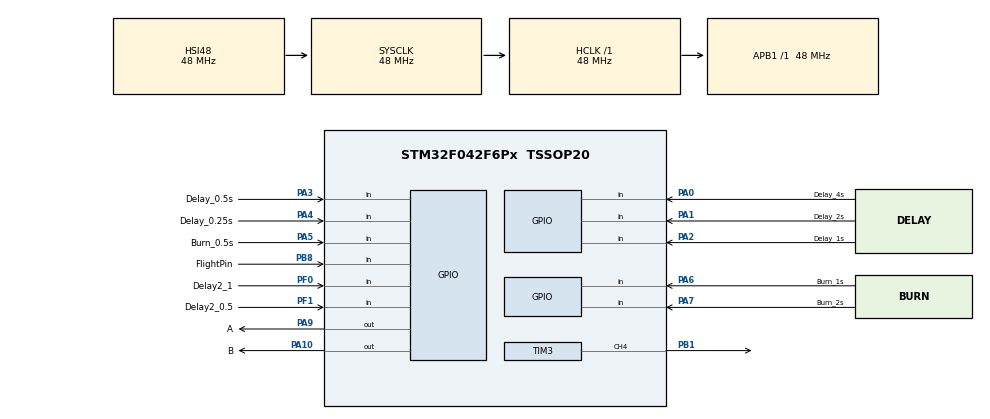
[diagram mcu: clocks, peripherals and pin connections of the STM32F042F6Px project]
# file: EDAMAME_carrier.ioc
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Mcu.Family=STM32F0
Mcu.Name=STM32F042F6Px
Mcu.Package=TSSOP20
PA0.GPIO_Label=Delay_4s
PA0.GPIO_PuPd=GPIO_PULLUP
PA0.Signal=GPIO_Input
PA1.GPIO_Label=Delay_2s
PA1.GPIO_PuPd=GPIO_PULLUP
PA1.Signal=GPIO_Input
PA10.GPIO_Label=B
PA10.Signal=GPIO_Output
PA13.Mode=Serial_Wire
PA13.Signal=SYS_SWDIO
PA14.Mode=Serial_Wire
PA14.Signal=SYS_SWCLK
PA2.GPIO_Label=Delay_1s
PA2.GPIO_PuPd=GPIO_PULLUP
PA2.Signal=GPIO_Input
PA3.GPIO_Label=Delay_0.5s
PA3.GPIO_PuPd=GPIO_PULLUP
PA3.Signal=GPIO_Input
PA4.GPIO_Label=Delay_0.25s
PA4.GPIO_PuPd=GPIO_PULLUP
PA4.Signal=GPIO_Input
PA5.GPIO_Label=Burn_0.5s
PA5.GPIO_PuPd=GPIO_PULLUP
PA5.Signal=GPIO_Input
PA6.GPIO_Label=Burn_1s
PA6.GPIO_PuPd=GPIO_PULLUP
PA6.Signal=GPIO_Input
PA7.GPIO_Label=Burn_2s
PA7.GPIO_PuPd=GPIO_PULLUP
PA7.Signal=GPIO_Input
PA9.GPIO_Label=A
PA9.Signal=GPIO_Output
PB1.Signal=S_TIM3_CH4
PB8.GPIO_Label=FlightPin
PB8.GPIO_PuPd=GPIO_PULLUP
PB8.Signal=GPIO_Input
PF0-OSC_IN.GPIO_Label=Delay2_1
PF0-OSC_IN.GPIO_PuPd=GPIO_PULLUP
PF0-OSC_IN.Signal=GPIO_Input
PF1-OSC_OUT.GPIO_Label=Delay2_0.5
PF1-OSC_OUT.GPIO_PuPd=GPIO_PULLUP
PF1-OSC_OUT.Signal=GPIO_Input
ProjectManager.HeapSize=0x200
ProjectManager.StackSize=0x400
ProjectManager.TargetToolchain=TrueSTUDIO
RCC.AHBFreq_Value=48000000
RCC.APB1Freq_Value=48000000
RCC.APB1TimFreq_Value=48000000
RCC.HCLKFreq_Value=48000000
RCC.PLLSourceVirtual=RCC_PLLSOURCE_HSI48
RCC.SYSCLKFreq_VALUE=48000000
RCC.SYSCLKSource=RCC_SYSCLKSOURCE_HSI48
SH.S_TIM3_CH4.0=TIM3_CH4,PWM Generation4 CH4
TIM3.Channel-PWM\ Generation4\ CH4=TIM_CHANNEL_4
TIM3.ClockDivision=TIM_CLOCKDIVISION_DIV1
TIM3.CounterMode=TIM_COUNTERMODE_CENTERALIGNED1
TIM3.Period=500
TIM3.Prescaler=48
TIM3.Pulse-PWM\ Generation4\ CH4=250
board=custom

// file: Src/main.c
/* USER CODE BEGIN Header */
/**
  ******************************************************************************
  * @file           : main.c
  * @brief          : Main program body
  ******************************************************************************
  ** This notice applies to any and all portions of this file
  * that are not between comment pairs USER CODE BEGIN and
  * USER CODE END. Other portions of this file, whether
  * inserted by the user or by software development tools
  * are owned by their respective copyright owners.
  *
  * COPYRIGHT(c) 2019 STMicroelectronics
  *
  * Redistribution and use in source and binary forms, with or without modification,
  * are permitted provided that the following conditions are met:
  *   1. Redistributions of source code must retain the above copyright notice,
  *      this list of conditions and the following disclaimer.
  *   2. Redistributions in binary form must reproduce the above copyright notice,
  *      this list of conditions and the following disclaimer in the documentation
  *      and/or other materials provided with the distribution.
  *   3. Neither the name of STMicroelectronics nor the names of its contributors
  *      may be used to endorse or promote products derived from this software
  *      without specific prior written permission.
  *
  * THIS SOFTWARE IS PROVIDED BY THE COPYRIGHT HOLDERS AND CONTRIBUTORS "AS IS"
  * AND ANY EXPRESS OR IMPLIED WARRANTIES, INCLUDING, BUT NOT LIMITED TO, THE
  * IMPLIED WARRANTIES OF MERCHANTABILITY AND FITNESS FOR A PARTICULAR PURPOSE ARE
  * DISCLAIMED. IN NO EVENT SHALL THE COPYRIGHT HOLDER OR CONTRIBUTORS BE LIABLE
  * FOR ANY DIRECT, INDIRECT, INCIDENTAL, SPECIAL, EXEMPLARY, OR CONSEQUENTIAL
  * DAMAGES (INCLUDING, BUT NOT LIMITED TO, PROCUREMENT OF SUBSTITUTE GOODS OR
  * SERVICES; LOSS OF USE, DATA, OR PROFITS; OR BUSINESS INTERRUPTION) HOWEVER
  * CAUSED AND ON ANY THEORY OF LIABILITY, WHETHER IN CONTRACT, STRICT LIABILITY,
  * OR TORT (INCLUDING NEGLIGENCE OR OTHERWISE) ARISING IN ANY WAY OUT OF THE USE
  * OF THIS SOFTWARE, EVEN IF ADVISED OF THE POSSIBILITY OF SUCH DAMAGE.
  *
  ******************************************************************************
  */
/* USER CODE END Header */

#include "main.h"

TIM_HandleTypeDef htim3;

void SystemClock_Config(void);
static void MX_GPIO_Init(void);
static void MX_TIM3_Init(void);

int main(void)
{

  /* MCU Configuration--------------------------------------------------------*/

  /* Reset of all peripherals, Initializes the Flash interface and the Systick. */
  HAL_Init();

  /* Configure the system clock */
  SystemClock_Config();

  /* Initialize all configured peripherals */
  MX_GPIO_Init();
  MX_TIM3_Init();
  /* USER CODE BEGIN 2 */

	//遅延時間の設定
	int delay_time[3] = { 50,50,50 };
	//パラシュートが展開してから上段のニクロム線が作動するまで
	delay_time[0] += HAL_GPIO_ReadPin( Delay_0_25s_GPIO_Port, Delay_0_25s_Pin	) ? 0 : 250;
	delay_time[0] += HAL_GPIO_ReadPin( Delay_0_5s_GPIO_Port	, Delay_0_5s_Pin	) ? 0 : 500;
	delay_time[0] += HAL_GPIO_ReadPin( Delay_1s_GPIO_Port	, Delay_1s_Pin		) ? 0 : 1000;
	delay_time[0] += HAL_GPIO_ReadPin( Delay_2s_GPIO_Port	, Delay_2s_Pin		) ? 0 : 2000;
	delay_time[0] += HAL_GPIO_ReadPin( Delay_4s_GPIO_Port	, Delay_4s_Pin		) ? 0 : 3000;

	//ニクロム線の駆動時間
	delay_time[1] += HAL_GPIO_ReadPin( Burn_0_5s_GPIO_Port	, Burn_0_5s_Pin		) ? 0 : 500;
	delay_time[1] += HAL_GPIO_ReadPin( Burn_1s_GPIO_Port	, Burn_1s_Pin		) ? 0 : 1000;
	delay_time[1] += HAL_GPIO_ReadPin( Burn_2s_GPIO_Port	, Burn_2s_Pin		) ? 0 : 2000;

	//上段と下段の間
	delay_time[2] += HAL_GPIO_ReadPin( Delay2_0_5_GPIO_Port	, Delay2_0_5_Pin	) ? 0 : 500;
	delay_time[2] += HAL_GPIO_ReadPin( Delay2_1_GPIO_Port	, Delay2_1_Pin		) ? 0 : 1000;

	////ここから起動シーケンス////

	//パラシュートが開放状態だったら
	while (HAL_GPIO_ReadPin(FlightPin_GPIO_Port, FlightPin_Pin) == GPIO_PIN_SET) {
		HAL_TIM_PWM_Start(&htim3, TIM_CHANNEL_4);
		HAL_Delay(100);
		HAL_TIM_PWM_Stop(&htim3, TIM_CHANNEL_4);
		HAL_Delay(900);
	}

	HAL_Delay(1000);
	for (int i = 0; i < 3; i++) {
		HAL_TIM_PWM_Start(&htim3, TIM_CHANNEL_4);
		HAL_Delay(100);
		HAL_TIM_PWM_Stop(&htim3, TIM_CHANNEL_4);
		HAL_Delay(100);
	}

	//開放されるまで待機
	while (HAL_GPIO_ReadPin(FlightPin_GPIO_Port, FlightPin_Pin) == GPIO_PIN_RESET);

	HAL_Delay(delay_time[0]);//パラシュート展開からの遅延
	//上段分離
	HAL_GPIO_WritePin(A_GPIO_Port, A_Pin, GPIO_PIN_SET);
	HAL_Delay(delay_time[1]);
	HAL_GPIO_WritePin(A_GPIO_Port, A_Pin, GPIO_PIN_RESET);

	//上段と下段の間の遅延時間
	HAL_Delay(delay_time[2]);

	//下段分離
	HAL_GPIO_WritePin(B_GPIO_Port, B_Pin, GPIO_PIN_SET);
	HAL_Delay(delay_time[1]);
	HAL_GPIO_WritePin(B_GPIO_Port, B_Pin, GPIO_PIN_RESET);

	HAL_Delay(5000);
	HAL_TIM_PWM_Start(&htim3, TIM_CHANNEL_4);

  /* USER CODE END 2 */

  /* Infinite loop */
	while (1) {

    /* USER CODE BEGIN 3 */
		htim3.Init.Prescaler = 48;
		HAL_TIM_PWM_Init(&htim3);
		HAL_Delay(998);
		htim3.Init.Prescaler = 24;
		HAL_TIM_PWM_Init(&htim3);
		HAL_Delay(998);
	}
  /* USER CODE END 3 */
}

void SystemClock_Config(void)
{
  RCC_OscInitTypeDef RCC_OscInitStruct = {0};
  RCC_ClkInitTypeDef RCC_ClkInitStruct = {0};

  /**Initializes the CPU, AHB and APB busses clocks
  */
  RCC_OscInitStruct.OscillatorType = RCC_OSCILLATORTYPE_HSI48;
  RCC_OscInitStruct.HSI48State = RCC_HSI48_ON;
  RCC_OscInitStruct.PLL.PLLState = RCC_PLL_NONE;
  if (HAL_RCC_OscConfig(&RCC_OscInitStruct) != HAL_OK)
  {
    Error_Handler();
  }
  /**Initializes the CPU, AHB and APB busses clocks
  */
  RCC_ClkInitStruct.ClockType = RCC_CLOCKTYPE_HCLK|RCC_CLOCKTYPE_SYSCLK
                              |RCC_CLOCKTYPE_PCLK1;
  RCC_ClkInitStruct.SYSCLKSource = RCC_SYSCLKSOURCE_HSI48;
  RCC_ClkInitStruct.AHBCLKDivider = RCC_SYSCLK_DIV1;
  RCC_ClkInitStruct.APB1CLKDivider = RCC_HCLK_DIV1;

  if (HAL_RCC_ClockConfig(&RCC_ClkInitStruct, FLASH_LATENCY_1) != HAL_OK)
  {
    Error_Handler();
  }
}

static void MX_TIM3_Init(void)
{

  TIM_MasterConfigTypeDef sMasterConfig = {0};
  TIM_OC_InitTypeDef sConfigOC = {0};

  htim3.Instance = TIM3;
  htim3.Init.Prescaler = 48;
  htim3.Init.CounterMode = TIM_COUNTERMODE_CENTERALIGNED1;
  htim3.Init.Period = 500;
  htim3.Init.ClockDivision = TIM_CLOCKDIVISION_DIV1;
  htim3.Init.AutoReloadPreload = TIM_AUTORELOAD_PRELOAD_DISABLE;
  if (HAL_TIM_PWM_Init(&htim3) != HAL_OK)
  {
    Error_Handler();
  }
  sMasterConfig.MasterOutputTrigger = TIM_TRGO_RESET;
  sMasterConfig.MasterSlaveMode = TIM_MASTERSLAVEMODE_DISABLE;
  if (HAL_TIMEx_MasterConfigSynchronization(&htim3, &sMasterConfig) != HAL_OK)
  {
    Error_Handler();
  }
  sConfigOC.OCMode = TIM_OCMODE_PWM1;
  sConfigOC.Pulse = 250;
  sConfigOC.OCPolarity = TIM_OCPOLARITY_HIGH;
  sConfigOC.OCFastMode = TIM_OCFAST_DISABLE;
  if (HAL_TIM_PWM_ConfigChannel(&htim3, &sConfigOC, TIM_CHANNEL_4) != HAL_OK)
  {
    Error_Handler();
  }
  HAL_TIM_MspPostInit(&htim3);

}

static void MX_GPIO_Init(void)
{
  GPIO_InitTypeDef GPIO_InitStruct = {0};

  /* GPIO Ports Clock Enable */
  __HAL_RCC_GPIOB_CLK_ENABLE();
  __HAL_RCC_GPIOF_CLK_ENABLE();
  __HAL_RCC_GPIOA_CLK_ENABLE();

  /*Configure GPIO pin Output Level */
  HAL_GPIO_WritePin(GPIOA, A_Pin|B_Pin, GPIO_PIN_RESET);

  /*Configure GPIO pin : FlightPin_Pin */
  GPIO_InitStruct.Pin = FlightPin_Pin;
  GPIO_InitStruct.Mode = GPIO_MODE_INPUT;
  GPIO_InitStruct.Pull = GPIO_PULLUP;
  HAL_GPIO_Init(FlightPin_GPIO_Port, &GPIO_InitStruct);

  /*Configure GPIO pins : Delay2_1_Pin Delay2_0_5_Pin */
  GPIO_InitStruct.Pin = Delay2_1_Pin|Delay2_0_5_Pin;
  GPIO_InitStruct.Mode = GPIO_MODE_INPUT;
  GPIO_InitStruct.Pull = GPIO_PULLUP;
  HAL_GPIO_Init(GPIOF, &GPIO_InitStruct);

  /*Configure GPIO pins : Delay_4s_Pin Delay_2s_Pin Delay_1s_Pin Delay_0_5s_Pin
                           Delay_0_25s_Pin Burn_0_5s_Pin Burn_1s_Pin Burn_2s_Pin */
  GPIO_InitStruct.Pin = Delay_4s_Pin|Delay_2s_Pin|Delay_1s_Pin|Delay_0_5s_Pin
                          |Delay_0_25s_Pin|Burn_0_5s_Pin|Burn_1s_Pin|Burn_2s_Pin;
  GPIO_InitStruct.Mode = GPIO_MODE_INPUT;
  GPIO_InitStruct.Pull = GPIO_PULLUP;
  HAL_GPIO_Init(GPIOA, &GPIO_InitStruct);

  /*Configure GPIO pins : A_Pin B_Pin */
  GPIO_InitStruct.Pin = A_Pin|B_Pin;
  GPIO_InitStruct.Mode = GPIO_MODE_OUTPUT_PP;
  GPIO_InitStruct.Pull = GPIO_NOPULL;
  GPIO_InitStruct.Speed = GPIO_SPEED_FREQ_LOW;
  HAL_GPIO_Init(GPIOA, &GPIO_InitStruct);

}

void Error_Handler(void)
{
}

/************************ (C) COPYRIGHT STMicroelectronics *****END OF FILE****/
